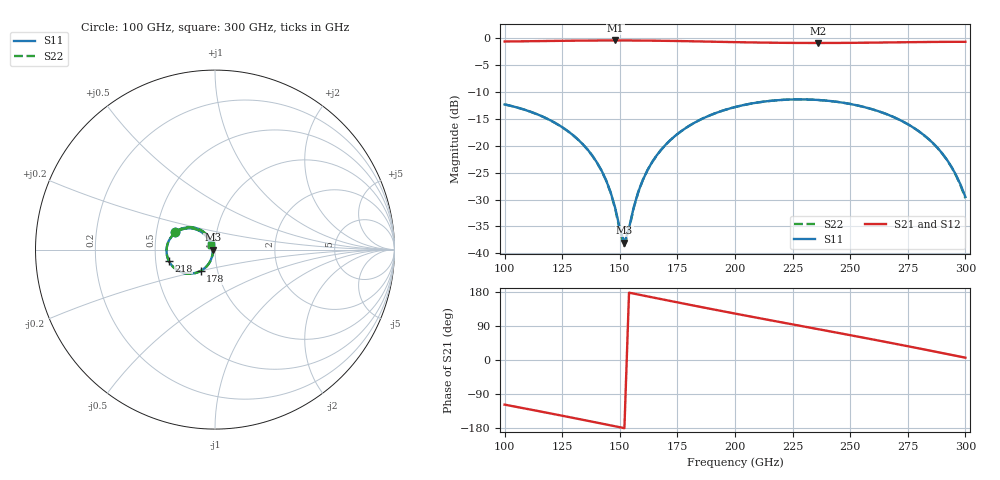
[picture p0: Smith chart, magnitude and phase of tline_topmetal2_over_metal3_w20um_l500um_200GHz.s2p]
#  GHZ S DB R 50
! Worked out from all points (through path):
!   101 points, 100 GHz to 300 GHz, reference 50 ohm
!   highest |S21| = -0.40 dB at 148 GHz (marker M1); lowest = -0.9 dB at 236 GHz (marker M2)
!   group delay of S21, straight-line fit = 3.27 ps
!   lowest |S11| = -38.1 dB at 152 GHz (marker M3), VSWR 1.03, Z = 48.8 - j0.0533 ohm
!   |S11| at or under -10 dB: start of sweep to end of sweep
!   |S22| runs from -38.7 to -11.4 dB; largest |S21 - S12| = 1.1e-14
!   S11 on the Smith chart (normalised r, x): 100 GHz: 0.63, +0.13; 178 GHz: 0.83, -0.20; 218 GHz: 0.59, -0.08; 300 GHz: 0.95, +0.04
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100  -12.30 156.5  -0.60 -117.8  -0.60 -117.8  -12.31 156.4
120  -15.29 134.6  -0.49 -141.1  -0.49 -141.1  -15.30 134.3
134  -19.74 120.7  -0.43 -157.9  -0.43 -157.9  -19.75 120.3
142  -24.55 116.3  -0.41 -167.6  -0.41 -167.6  -24.58 115.5
146  -28.62 119.0  -0.40 -172.5  -0.40 -172.5  -28.70 117.8
148  -31.56 125.2  -0.40 -175.0  -0.40 -175.0  -31.71 123.5
150  -35.36 141.7  -0.40 -177.4  -0.40 -177.4  -35.71 139.7
152  -38.05 -177.5  -0.40 -179.9  -0.40 -179.9  -38.68 -177.2
156  -31.51 -120.9  -0.41 175.2  -0.41 175.2  -31.63 -119.1
160  -26.34 -112.6  -0.42 170.3  -0.42 170.3  -26.37 -111.6
168  -20.71 -115.0  -0.46 160.6  -0.46 160.6  -20.71 -114.5
178  -16.87 -124.0  -0.53 148.5  -0.53 148.5  -16.88 -123.7
200  -12.80 -147.3  -0.71 122.5  -0.71 122.5  -12.80 -147.2
218  -11.54 -166.6  -0.83 101.9  -0.83 101.9  -11.54 -166.6
234  -11.43 176.3  -0.87 83.7  -0.87 83.7  -11.43 176.3
236  -11.47 174.2  -0.87 81.5  -0.87 81.5  -11.48 174.2
252  -12.39 157.3  -0.84 63.2  -0.84 63.2  -12.39 157.2
268  -14.50 140.8  -0.76 44.6  -0.76 44.6  -14.50 140.6
280  -17.36 129.6  -0.70 30.4  -0.70 30.4  -17.37 129.2
288  -20.43 124.1  -0.67 20.7  -0.67 20.7  -20.46 123.4
294  -23.93 123.5  -0.66 13.5  -0.66 13.5  -23.99 122.4
300  -29.51 135.8  -0.65 6.1  -0.65 6.1  -29.75 133.8
